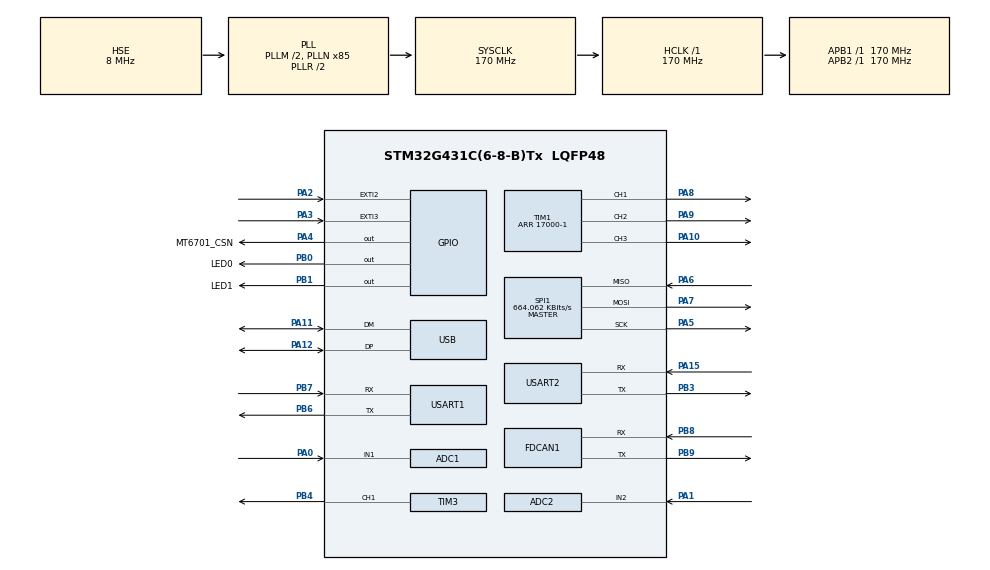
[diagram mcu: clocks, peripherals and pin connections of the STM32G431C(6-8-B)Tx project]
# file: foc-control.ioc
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ADC1.EnableInjectedConversion=ENABLE
ADC1.EnableRegularConversion=DISABLE
ADC1.ExternalTrigInjecConv=ADC_EXTERNALTRIGINJEC_T1_TRGO
ADC1.InjNumberOfConversion=1
ADC1.InjectedChannel-3\#ChannelInjectedConversion=ADC_CHANNEL_1
ADC1.InjectedOffsetNumber-3\#ChannelInjectedConversion=ADC_OFFSET_NONE
ADC1.InjectedRank-3\#ChannelInjectedConversion=1
ADC1.InjectedSamplingTime-3\#ChannelInjectedConversion=ADC_SAMPLETIME_12CYCLES_5
ADC1.Mode=ADC_DUALMODE_INJECSIMULT
ADC1.Rank1_Channel=ADC_CHANNEL_1
ADC1.master=1
ADC2.EnableInjectedConversion=ENABLE
ADC2.EnableInjectedOversampling=DISABLE
ADC2.EnableRegularConversion=DISABLE
ADC2.InjNumberOfConversion=1
ADC2.InjectedChannel-7\#ChannelInjectedConversion=ADC_CHANNEL_2
ADC2.InjectedOffsetNumber-7\#ChannelInjectedConversion=ADC_OFFSET_NONE
ADC2.InjectedRank-7\#ChannelInjectedConversion=1
ADC2.InjectedSamplingTime-7\#ChannelInjectedConversion=ADC_SAMPLETIME_12CYCLES_5
ADC2.Mode=ADC_DUALMODE_INJECSIMULT
ADC2.Rank1_Channel=ADC_CHANNEL_2
ADC2.Rank2_Channel=ADC_CHANNEL_2
Dma.Request0=SPI1_RX
Dma.Request1=SPI1_TX
Dma.SPI1_RX.0.Direction=DMA_PERIPH_TO_MEMORY
Dma.SPI1_RX.0.EventEnable=DISABLE
Dma.SPI1_RX.0.Instance=DMA1_Channel1
Dma.SPI1_RX.0.MemDataAlignment=DMA_MDATAALIGN_BYTE
Dma.SPI1_RX.0.MemInc=DMA_MINC_ENABLE
Dma.SPI1_RX.0.Mode=DMA_NORMAL
Dma.SPI1_RX.0.PeriphDataAlignment=DMA_PDATAALIGN_BYTE
Dma.SPI1_RX.0.PeriphInc=DMA_PINC_DISABLE
Dma.SPI1_RX.0.Polarity=HAL_DMAMUX_REQ_GEN_RISING
Dma.SPI1_RX.0.Priority=DMA_PRIORITY_LOW
Dma.SPI1_RX.0.RequestNumber=1
Dma.SPI1_RX.0.SignalID=NONE
Dma.SPI1_RX.0.SyncEnable=DISABLE
Dma.SPI1_RX.0.SyncPolarity=HAL_DMAMUX_SYNC_NO_EVENT
Dma.SPI1_RX.0.SyncRequestNumber=1
Dma.SPI1_RX.0.SyncSignalID=NONE
Dma.SPI1_TX.1.Direction=DMA_MEMORY_TO_PERIPH
Dma.SPI1_TX.1.EventEnable=DISABLE
Dma.SPI1_TX.1.Instance=DMA1_Channel2
Dma.SPI1_TX.1.MemDataAlignment=DMA_MDATAALIGN_BYTE
Dma.SPI1_TX.1.MemInc=DMA_MINC_ENABLE
Dma.SPI1_TX.1.Mode=DMA_NORMAL
Dma.SPI1_TX.1.PeriphDataAlignment=DMA_PDATAALIGN_BYTE
Dma.SPI1_TX.1.PeriphInc=DMA_PINC_DISABLE
Dma.SPI1_TX.1.Polarity=HAL_DMAMUX_REQ_GEN_RISING
Dma.SPI1_TX.1.Priority=DMA_PRIORITY_LOW
Dma.SPI1_TX.1.RequestNumber=1
Dma.SPI1_TX.1.SignalID=NONE
Dma.SPI1_TX.1.SyncEnable=DISABLE
Dma.SPI1_TX.1.SyncPolarity=HAL_DMAMUX_SYNC_NO_EVENT
Dma.SPI1_TX.1.SyncRequestNumber=1
Dma.SPI1_TX.1.SyncSignalID=NONE
FDCAN1.CalculateBaudRateNominal=3541666
FDCAN1.CalculateTimeBitNominal=282
FDCAN1.CalculateTimeQuantumNominal=94.11764705882354
Mcu.Family=STM32G4
Mcu.Name=STM32G431C(6-8-B)Tx
Mcu.Package=LQFP48
NVIC.ADC1_2_IRQn=true\:2\:0\:true\:false\:true\:true\:true\:true
NVIC.DMA1_Channel1_IRQn=true\:4\:0\:true\:false\:true\:false\:true\:true
NVIC.DMA1_Channel2_IRQn=true\:4\:0\:true\:false\:true\:false\:true\:true
NVIC.PriorityGroup=NVIC_PRIORITYGROUP_4
NVIC.SPI1_IRQn=true\:4\:0\:true\:false\:true\:true\:true\:true
NVIC.TIM2_IRQn=true\:3\:0\:true\:false\:true\:true\:true\:true
NVIC.USART1_IRQn=true\:5\:0\:true\:false\:true\:true\:true\:true
NVIC.USART2_IRQn=true\:5\:0\:true\:false\:true\:true\:true\:true
NVIC.USB_LP_IRQn=true\:1\:0\:true\:false\:true\:false\:true\:true
PA0.Mode=IN1-Single-Ended
PA0.Signal=ADC1_IN1
PA1.Mode=IN2-Single-Ended
PA1.Signal=ADC2_IN2
PA10.GPIO_Speed=GPIO_SPEED_FREQ_VERY_HIGH
PA10.Signal=S_TIM1_CH3
PA11.Mode=Device
PA11.Signal=USB_DM
PA12.Mode=Device
PA12.Signal=USB_DP
PA13.Mode=Serial_Wire
PA13.Signal=SYS_JTMS-SWDIO
PA14.Mode=Serial_Wire
PA14.Signal=SYS_JTCK-SWCLK
PA15.Mode=Asynchronous
PA15.Signal=USART2_RX
PA2.Signal=GPXTI2
PA3.Signal=GPXTI3
PA4.GPIO_Label=MT6701_CSN
PA4.Signal=GPIO_Output
PA5.Mode=Full_Duplex_Master
PA5.Signal=SPI1_SCK
PA6.Mode=Full_Duplex_Master
PA6.Signal=SPI1_MISO
PA7.Mode=Full_Duplex_Master
PA7.Signal=SPI1_MOSI
PA8.GPIO_Speed=GPIO_SPEED_FREQ_VERY_HIGH
PA8.Signal=S_TIM1_CH1
PA9.GPIO_Speed=GPIO_SPEED_FREQ_VERY_HIGH
PA9.Signal=S_TIM1_CH2
PB0.GPIO_Label=LED0
PB0.Signal=GPIO_Output
PB1.GPIO_Label=LED1
PB1.Signal=GPIO_Output
PB3.Mode=Asynchronous
PB3.Signal=USART2_TX
PB4.GPIO_Speed=GPIO_SPEED_FREQ_MEDIUM
PB4.Signal=S_TIM3_CH1
PB6.Mode=Asynchronous
PB6.Signal=USART1_TX
PB7.Mode=Asynchronous
PB7.Signal=USART1_RX
PB8-BOOT0.Mode=FDCAN_Activate
PB8-BOOT0.Signal=FDCAN1_RX
PB9.Mode=FDCAN_Activate
PB9.Signal=FDCAN1_TX
PF0-OSC_IN.Mode=HSE-External-Oscillator
PF0-OSC_IN.Signal=RCC_OSC_IN
PF1-OSC_OUT.Mode=HSE-External-Oscillator
PF1-OSC_OUT.Signal=RCC_OSC_OUT
ProjectManager.HeapSize=0x200
ProjectManager.StackSize=0x400
ProjectManager.TargetToolchain=CMake
RCC.ADC12Freq_Value=170000000
RCC.AHBFreq_Value=170000000
RCC.APB1Freq_Value=170000000
RCC.APB1TimFreq_Value=170000000
RCC.APB2Freq_Value=170000000
RCC.APB2TimFreq_Value=170000000
RCC.CK48CLockSelection=RCC_USBCLKSOURCE_HSI48
RCC.CortexFreq_Value=170000000
RCC.EXTERNAL_CLOCK_VALUE=12288000
RCC.HCLKFreq_Value=170000000
RCC.HSE_VALUE=8000000
RCC.HSI48_VALUE=48000000
RCC.HSI_VALUE=16000000
RCC.LSE_VALUE=32768
RCC.PLLM=RCC_PLLM_DIV2
RCC.PLLN=85
RCC.PLLSourceVirtual=RCC_PLLSOURCE_HSE
RCC.SYSCLKFreq_VALUE=170000000
RCC.SYSCLKSource=RCC_SYSCLKSOURCE_PLLCLK
RCC.VCOOutputFreq_Value=340000000
SH.S_TIM1_CH1.0=TIM1_CH1,PWM Generation1 CH1
SH.S_TIM1_CH2.0=TIM1_CH2,PWM Generation2 CH2
SH.S_TIM1_CH3.0=TIM1_CH3,PWM Generation3 CH3
SH.S_TIM3_CH1.0=TIM3_CH1,PWM Generation1 CH1
SPI1.BaudRatePrescaler=SPI_BAUDRATEPRESCALER_256
SPI1.CLKPhase=SPI_PHASE_2EDGE
SPI1.CalculateBaudRate=664.062 KBits/s
SPI1.DataSize=SPI_DATASIZE_8BIT
SPI1.Direction=SPI_DIRECTION_2LINES
SPI1.Mode=SPI_MODE_MASTER
SPI1.VirtualType=VM_MASTER
STMicroelectronics.X-CUBE-ALGOBUILD.1.4.0.LibraryCcDSPOoLibraryJjDSPOoLibrary=true
TIM1.AutoReloadPreload=TIM_AUTORELOAD_PRELOAD_ENABLE
TIM1.Channel-PWM\ Generation1\ CH1=TIM_CHANNEL_1
TIM1.Channel-PWM\ Generation2\ CH2=TIM_CHANNEL_2
TIM1.Channel-PWM\ Generation3\ CH3=TIM_CHANNEL_3
TIM1.Channel-PWM\ Generation4\ No\ Output=TIM_CHANNEL_4
TIM1.CounterMode=TIM_COUNTERMODE_CENTERALIGNED3
TIM1.PeriodNoDither=17000-1
TIM1.PulseNoDither_4=1
TIM1.RepetitionCounter=0
TIM1.TIM_MasterOutputTrigger=TIM_TRGO_OC4REF
TIM1.TIM_MasterSlaveMode=TIM_MASTERSLAVEMODE_ENABLE
TIM2.PeriodNoDither=1000-1
TIM2.Prescaler=170-1
TIM3.Channel-PWM\ Generation1\ CH1=TIM_CHANNEL_1
USART1.VirtualMode-Asynchronous=VM_ASYNC
USART2.VirtualMode-Asynchronous=VM_ASYNC
USB_DEVICE.CLASS_NAME_FS=CDC
USB_DEVICE.VirtualMode=Cdc
USB_DEVICE.VirtualModeFS=Cdc_FS
VP_RCC_VS_USB.Mode=USB_FS
VP_STMicroelectronics.X-CUBE-ALGOBUILD_VS_DSPOoLibraryJjLibrary_1.4.0_1.4.0.Mode=DSPOoLibraryJjLibrary
VP_SYS_VS_DBSignals.Mode=DisableDeadBatterySignals
VP_TIM1_VS_ClockSourceINT.Mode=Internal
VP_TIM1_VS_no_output4.Mode=PWM Generation4 No Output
VP_TIM2_VS_ClockSourceINT.Mode=Internal
VP_USB_DEVICE_VS_USB_DEVICE_CDC_FS.Mode=CDC_FS
board=custom

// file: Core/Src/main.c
/* USER CODE BEGIN Header */
/**
  ******************************************************************************
  * @file           : main.c
  * @brief          : Main program body
  ******************************************************************************
  * @attention
  *
  * Copyright (c) 2026 STMicroelectronics.
  * All rights reserved.
  *
  * This software is licensed under terms that can be found in the LICENSE file
  * in the root directory of this software component.
  * If no LICENSE file comes with this software, it is provided AS-IS.
  *
  ******************************************************************************
  */
/* USER CODE END Header */
#include "main.h"
#include "adc.h"
#include "dma.h"
#include "fdcan.h"
#include "spi.h"
#include "tim.h"
#include "usart.h"
#include "usb_device.h"
#include "gpio.h"

/* USER CODE BEGIN Includes */
#include "JerryFOC.h"
#include "MT6701.h"
#include <stdlib.h> // for atof
#include <string.h> // for strncmp
/* USER CODE END Includes */

void SystemClock_Config(void);

/* USER CODE BEGIN 0 */
uint8_t rx_byte;
char rx_buffer[32];
uint8_t rx_index = 0;

void HAL_UART_RxCpltCallback(UART_HandleTypeDef *huart) {
    if(huart->Instance == USART1) {
        if(rx_byte == '\n') {
            rx_buffer[rx_index] = '\0';

            // 解析 VOFA+ 下发的指令
            if (strncmp(rx_buffer, "Speed:", 6) == 0) {
                float target = atof(rx_buffer + 6);
                JerryFOC_setMode(JERRYFOC_MODE_VELOCITY);
                JerryFOC_setVelocity(target);
            } else if (strncmp(rx_buffer, "Angle:", 6) == 0) {
                float target = atof(rx_buffer + 6);
                JerryFOC_setMode(JERRYFOC_MODE_POSITION);
                JerryFOC_setPosition(target, 0.0f); // 0 表示使用默认限幅
            } else if (strncmp(rx_buffer, "Torque:", 7) == 0) {
                float target = atof(rx_buffer + 7);
                JerryFOC_setMode(JERRYFOC_MODE_TORQUE);
                JerryFOC_setCurrent(target);
            }

            rx_index = 0;
        } else if (rx_byte != '\r') {
            if(rx_index < 31) {
                rx_buffer[rx_index++] = rx_byte;
            }
        }
        HAL_UART_Receive_IT(&huart1, &rx_byte, 1);
    }
}

char cdc_rx_buffer[32];
uint8_t cdc_rx_index = 0;

void Process_CDC_Rx(uint8_t* Buf, uint32_t Len) {
    for (uint32_t i = 0; i < Len; i++) {
        uint8_t byte = Buf[i];
        if(byte == '\n') {
            cdc_rx_buffer[cdc_rx_index] = '\0';

            // 解析 VOFA+ 下发的指令
            if (strncmp(cdc_rx_buffer, "Speed:", 6) == 0) {
                float target = atof(cdc_rx_buffer + 6);
                JerryFOC_setMode(JERRYFOC_MODE_VELOCITY);
                JerryFOC_setVelocity(target);
            } else if (strncmp(cdc_rx_buffer, "Angle:", 6) == 0) {
                float target = atof(cdc_rx_buffer + 6);
                JerryFOC_setMode(JERRYFOC_MODE_POSITION);
                JerryFOC_setPosition(target, 0.0f); // 0 表示使用默认限幅
            } else if (strncmp(cdc_rx_buffer, "Torque:", 7) == 0) {
                float target = atof(cdc_rx_buffer + 7);
                JerryFOC_setMode(JERRYFOC_MODE_TORQUE);
                JerryFOC_setCurrent(target);
            }

            cdc_rx_index = 0;
        } else if (byte != '\r') {
            if(cdc_rx_index < 31) {
                cdc_rx_buffer[cdc_rx_index++] = byte;
            }
        }
    }
}
/* USER CODE END 0 */

int main(void)
{

  /* MCU Configuration--------------------------------------------------------*/

  /* Reset of all peripherals, Initializes the Flash interface and the Systick. */
  HAL_Init();

  /* Configure the system clock */
  SystemClock_Config();

  /* Initialize all configured peripherals */
  MX_GPIO_Init();
  MX_DMA_Init();
  MX_ADC1_Init();
  MX_TIM1_Init();
  MX_ADC2_Init();
  MX_SPI1_Init();
  MX_TIM3_Init();
  MX_USB_Device_Init();
  MX_USART1_UART_Init();
  MX_FDCAN1_Init();
  MX_TIM2_Init();
  MX_USART2_UART_Init();
  /* USER CODE BEGIN 2 */
  // 1. 开启 DWT 计数器，提供微秒级精度支持
  CoreDebug->DEMCR |= CoreDebug_DEMCR_TRCENA_Msk;
  DWT->CYCCNT = 0;
  DWT->CTRL |= DWT_CTRL_CYCCNTENA_Msk;

  // 2. 开启 TIM1 三个通道的 PWM 输出
  HAL_TIM_PWM_Start(&htim1, TIM_CHANNEL_1);
  HAL_TIM_PWM_Start(&htim1, TIM_CHANNEL_2);
  HAL_TIM_PWM_Start(&htim1, TIM_CHANNEL_3);
    // 2. 触发第一次 MT6701 的 SPI DMA 读取，建立后台循环更新
  HAL_SPI_TransmitReceive_DMA(&hspi1, MT6701_Data, MT6701_Data, 3);

  // 开启 USART1 串口中断接收，等待上位机下发速度指令
  HAL_UART_Receive_IT(&huart1, &rx_byte, 1);

  // 在开启 ADC 前，必须先执行上电自校准！这是 STM32G4 读出正确数据（而不是0）的硬性要求！
  HAL_ADCEx_Calibration_Start(&hadc1, ADC_SINGLE_ENDED);
  HAL_ADCEx_Calibration_Start(&hadc2, ADC_SINGLE_ENDED);

  // 开启 ADC 的注入组！对于双 ADC 同步模式，【必须先启动从机(ADC2)，再启动主机(ADC1)】！
  HAL_ADCEx_InjectedStart(&hadc2);
  HAL_ADCEx_InjectedStart(&hadc1);

  // 这里暂时不要开启 TIM2！否则会导致 alignSensor 期间速度计算发生瞬间飞车突变！

  // 播放大疆启动音效 (滴-滴-滴-滴)
  JerryFOC_playStartupSound();

  // 3. 执行电机零点对齐标定 (注意电机在上电时会强制转动一下然后锁死3秒)
  JerryFOC_alignSensor();

  // ===== 速度-电流双闭环模式 =====
  JerryFOC_setMode(JERRYFOC_MODE_VELOCITY);
  // JerryFOC_setVelocity(20.0f);  // 目标速度 20 rad/s (约 3.2 圈/秒)

  // 开启 TIM2 定时器中断
  HAL_TIM_Base_Start_IT(&htim2);

  /* USER CODE END 2 */

  /* Infinite loop */
  while (1)
  {

    /* USER CODE BEGIN 3 */
    // 内环：极速 FOC 换相
    JerryFOC_run();
  }
  /* USER CODE END 3 */
}

void SystemClock_Config(void)
{
  RCC_OscInitTypeDef RCC_OscInitStruct = {0};
  RCC_ClkInitTypeDef RCC_ClkInitStruct = {0};
  RCC_CRSInitTypeDef pInit = {0};

  /** Configure the main internal regulator output voltage
  */
  HAL_PWREx_ControlVoltageScaling(PWR_REGULATOR_VOLTAGE_SCALE1_BOOST);

  /** Initializes the RCC Oscillators according to the specified parameters
  * in the RCC_OscInitTypeDef structure.
  */
  RCC_OscInitStruct.OscillatorType = RCC_OSCILLATORTYPE_HSI48|RCC_OSCILLATORTYPE_HSE;
  RCC_OscInitStruct.HSEState = RCC_HSE_ON;
  RCC_OscInitStruct.HSI48State = RCC_HSI48_ON;
  RCC_OscInitStruct.PLL.PLLState = RCC_PLL_ON;
  RCC_OscInitStruct.PLL.PLLSource = RCC_PLLSOURCE_HSE;
  RCC_OscInitStruct.PLL.PLLM = RCC_PLLM_DIV2;
  RCC_OscInitStruct.PLL.PLLN = 85;
  RCC_OscInitStruct.PLL.PLLP = RCC_PLLP_DIV2;
  RCC_OscInitStruct.PLL.PLLQ = RCC_PLLQ_DIV2;
  RCC_OscInitStruct.PLL.PLLR = RCC_PLLR_DIV2;
  if (HAL_RCC_OscConfig(&RCC_OscInitStruct) != HAL_OK)
  {
    Error_Handler();
  }

  /** Initializes the CPU, AHB and APB buses clocks
  */
  RCC_ClkInitStruct.ClockType = RCC_CLOCKTYPE_HCLK|RCC_CLOCKTYPE_SYSCLK
                              |RCC_CLOCKTYPE_PCLK1|RCC_CLOCKTYPE_PCLK2;
  RCC_ClkInitStruct.SYSCLKSource = RCC_SYSCLKSOURCE_PLLCLK;
  RCC_ClkInitStruct.AHBCLKDivider = RCC_SYSCLK_DIV1;
  RCC_ClkInitStruct.APB1CLKDivider = RCC_HCLK_DIV1;
  RCC_ClkInitStruct.APB2CLKDivider = RCC_HCLK_DIV1;

  if (HAL_RCC_ClockConfig(&RCC_ClkInitStruct, FLASH_LATENCY_4) != HAL_OK)
  {
    Error_Handler();
  }

  /** Enable the SYSCFG APB clock
  */
  __HAL_RCC_CRS_CLK_ENABLE();

  /** Configures CRS
  */
  pInit.Prescaler = RCC_CRS_SYNC_DIV1;
  pInit.Source = RCC_CRS_SYNC_SOURCE_USB;
  pInit.Polarity = RCC_CRS_SYNC_POLARITY_RISING;
  pInit.ReloadValue = __HAL_RCC_CRS_RELOADVALUE_CALCULATE(48000000,1000);
  pInit.ErrorLimitValue = 34;
  pInit.HSI48CalibrationValue = 32;

  HAL_RCCEx_CRSConfig(&pInit);
}

void Error_Handler(void)
{
  __disable_irq();
  while (1)
  {
  }
}
